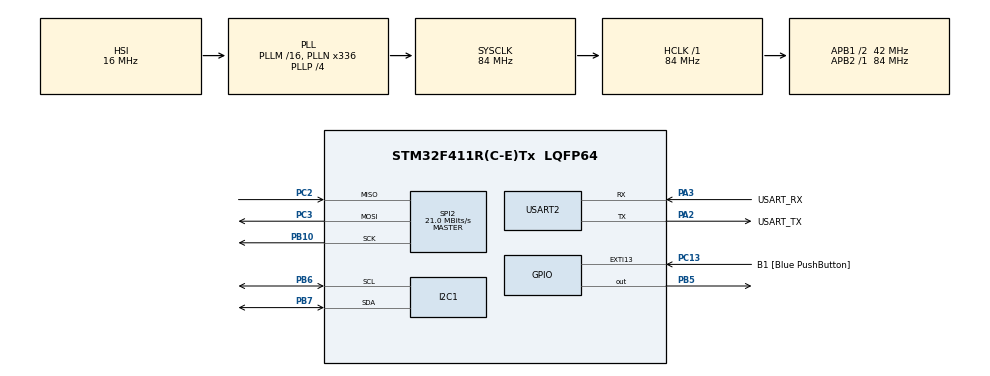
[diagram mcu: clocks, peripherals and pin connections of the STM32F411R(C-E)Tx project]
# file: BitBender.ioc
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Mcu.Family=STM32F4
Mcu.Name=STM32F411R(C-E)Tx
Mcu.Package=LQFP64
NVIC.PriorityGroup=NVIC_PRIORITYGROUP_0
NVIC.SPI2_IRQn=true\:0\:0\:false\:false\:true\:true\:true\:true
NVIC.USART2_IRQn=true\:0\:0\:false\:false\:true\:true\:true\:true
PA13.GPIO_Label=TMS
PA13.Mode=Serial_Wire
PA13.Signal=SYS_JTMS-SWDIO
PA14.GPIO_Label=TCK
PA14.Mode=Serial_Wire
PA14.Signal=SYS_JTCK-SWCLK
PA2.GPIO_Label=USART_TX
PA2.Mode=Asynchronous
PA2.Signal=USART2_TX
PA3.GPIO_Label=USART_RX
PA3.Mode=Asynchronous
PA3.Signal=USART2_RX
PB10.Mode=Full_Duplex_Master
PB10.Signal=SPI2_SCK
PB3.GPIO_Label=SWO
PB3.Signal=SYS_JTDO-SWO
PB5.Signal=GPIO_Output
PB6.GPIO_Pu=GPIO_PULLUP
PB6.Mode=I2C
PB6.Signal=I2C1_SCL
PB7.GPIO_Pu=GPIO_PULLUP
PB7.Mode=I2C
PB7.Signal=I2C1_SDA
PC13-ANTI_TAMP.GPIO_Label=B1 [Blue PushButton]
PC13-ANTI_TAMP.GPIO_ModeDefaultEXTI=GPIO_MODE_IT_FALLING
PC13-ANTI_TAMP.Signal=GPXTI13
PC14-OSC32_IN.Mode=LSE-External-Oscillator
PC14-OSC32_IN.Signal=RCC_OSC32_IN
PC15-OSC32_OUT.Mode=LSE-External-Oscillator
PC15-OSC32_OUT.Signal=RCC_OSC32_OUT
PC2.Mode=Full_Duplex_Master
PC2.Signal=SPI2_MISO
PC3.Mode=Full_Duplex_Master
PC3.Signal=SPI2_MOSI
PH0\ -\ OSC_IN.Mode=HSE-External-Clock-Source
PH0\ -\ OSC_IN.Signal=RCC_OSC_IN
PH1\ -\ OSC_OUT.Mode=HSE-External-Clock-Source
PH1\ -\ OSC_OUT.Signal=RCC_OSC_OUT
ProjectManager.HeapSize=0x200
ProjectManager.StackSize=0x400
ProjectManager.TargetToolchain=STM32CubeIDE
RCC.48MHZClocksFreq_Value=84000000
RCC.AHBFreq_Value=84000000
RCC.APB1CLKDivider=RCC_HCLK_DIV2
RCC.APB1Freq_Value=42000000
RCC.APB1TimFreq_Value=84000000
RCC.APB2Freq_Value=84000000
RCC.APB2TimFreq_Value=84000000
RCC.CortexFreq_Value=84000000
RCC.FLatency-AdvancedSettings=FLASH_LATENCY_2
RCC.HCLKFreq_Value=84000000
RCC.HSE_VALUE=8000000
RCC.HSI_VALUE=16000000
RCC.PLLN=336
RCC.PLLP=RCC_PLLP_DIV4
RCC.SYSCLKFreq_VALUE=84000000
RCC.SYSCLKSource=RCC_SYSCLKSOURCE_PLLCLK
RCC.VCOOutputFreq_Value=336000000
SPI2.CalculateBaudRate=21.0 MBits/s
SPI2.Direction=SPI_DIRECTION_2LINES
SPI2.Mode=SPI_MODE_MASTER
SPI2.VirtualType=VM_MASTER
USART2.VirtualMode=VM_ASYNC
board=NUCLEO-F411RE

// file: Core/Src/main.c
/* USER CODE BEGIN Header */
/**
  ******************************************************************************
  * @file           : main.c
  * @brief          : Main program body
  ******************************************************************************
  * @attention
  *
  * Copyright (c) 2025 STMicroelectronics.
  * All rights reserved.
  *
  * This software is licensed under terms that can be found in the LICENSE file
  * in the root directory of this software component.
  * If no LICENSE file comes with this software, it is provided AS-IS.
  *
  ******************************************************************************
  */
/* USER CODE END Header */
#include "main.h"
#include "gpio.h"
#include "spi.h"
#include "i2c.h"

void SystemClock_Config(void);

int main(void)
{

  /* MCU Configuration--------------------------------------------------------*/

  /* Reset of all peripherals, Initializes the Flash interface and the Systick. */
  HAL_Init();

  /* Configure the system clock */
  SystemClock_Config();

  /* Initialize all configured peripherals */
  MX_GPIO_Init();
  MX_USART2_UART_Init();
  MX_I2C1_Init();
  MX_SPI2_Init();
  /* USER CODE BEGIN 2 */
  Welcome_Message();
  print_menu();

  /* USER CODE END 2 */

  /* Infinite loop */
  while (1)
  {

    /* USER CODE BEGIN 3 */
    UART_ProcessCommands();

  }
  /* USER CODE END 3 */
}

void SystemClock_Config(void)
{
  RCC_OscInitTypeDef RCC_OscInitStruct = {0};
  RCC_ClkInitTypeDef RCC_ClkInitStruct = {0};

  /** Configure the main internal regulator output voltage
  */
  __HAL_RCC_PWR_CLK_ENABLE();
  __HAL_PWR_VOLTAGESCALING_CONFIG(PWR_REGULATOR_VOLTAGE_SCALE1);

  /** Initializes the RCC Oscillators according to the specified parameters
  * in the RCC_OscInitTypeDef structure.
  */
  RCC_OscInitStruct.OscillatorType = RCC_OSCILLATORTYPE_HSI;
  RCC_OscInitStruct.HSIState = RCC_HSI_ON;
  RCC_OscInitStruct.HSICalibrationValue = RCC_HSICALIBRATION_DEFAULT;
  RCC_OscInitStruct.PLL.PLLState = RCC_PLL_ON;
  RCC_OscInitStruct.PLL.PLLSource = RCC_PLLSOURCE_HSI;
  RCC_OscInitStruct.PLL.PLLM = 16;
  RCC_OscInitStruct.PLL.PLLN = 336;
  RCC_OscInitStruct.PLL.PLLP = RCC_PLLP_DIV4;
  RCC_OscInitStruct.PLL.PLLQ = 4;
  if (HAL_RCC_OscConfig(&RCC_OscInitStruct) != HAL_OK)
  {
    Error_Handler();
  }

  /** Initializes the CPU, AHB and APB buses clocks
  */
  RCC_ClkInitStruct.ClockType = RCC_CLOCKTYPE_HCLK|RCC_CLOCKTYPE_SYSCLK
                              |RCC_CLOCKTYPE_PCLK1|RCC_CLOCKTYPE_PCLK2;
  RCC_ClkInitStruct.SYSCLKSource = RCC_SYSCLKSOURCE_PLLCLK;
  RCC_ClkInitStruct.AHBCLKDivider = RCC_SYSCLK_DIV1;
  RCC_ClkInitStruct.APB1CLKDivider = RCC_HCLK_DIV2;
  RCC_ClkInitStruct.APB2CLKDivider = RCC_HCLK_DIV1;

  if (HAL_RCC_ClockConfig(&RCC_ClkInitStruct, FLASH_LATENCY_2) != HAL_OK)
  {
    Error_Handler();
  }
}

/* USER CODE BEGIN 4 */
/**
 * @brief Print a welcome message on the UART console
 *
 * This function sends a welcome message to the UART console. The message
 * includes the name of the project, the copyright information and the
 * version number.
 *
 * @retval None
 */
void Welcome_Message(){
  char msg[] ="                                                                  \r\n\
 ______  _         ______                  _                                     \r\n\
(____  \\(_)_      (____  \\                | |                                  \r\n\
 ____)  )_| |_     ____)  ) ____ ____   _ | | ____  ____                         \r\n\
|  __  (| |  _)   |  __  ( / _  )  _ \\ / || |/ _  )/ ___)                       \r\n\
| |__)  ) | |__   | |__)  | (/ /| | | ( (_| ( (/ /| |                            \r\n\
|______/|_|\\___)  |______/ \\____)_| |_|\\____|\\____)_|                        \r\n\
==========================================================                       \r\n\
";

  char *msgPointer = msg;
  uart_transmit(msgPointer);
}

/* USER CODE END 4 */

void Error_Handler(void)
{
  __disable_irq();
  while (1)
  {
  }
}
